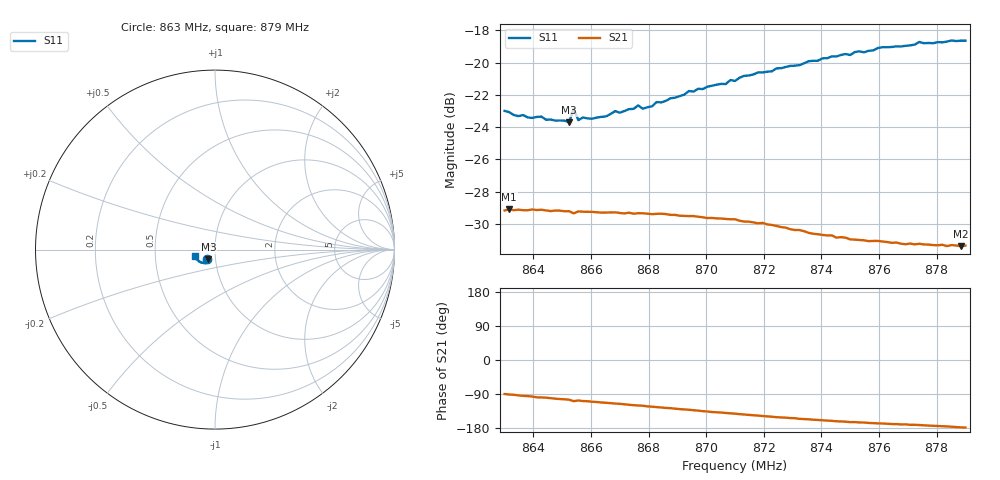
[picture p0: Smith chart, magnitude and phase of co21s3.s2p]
# HZ S RI R 50
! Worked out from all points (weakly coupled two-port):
!   101 points, 863 MHz to 879 MHz, reference 50 ohm
!   highest |S21| = -29.11 dB at 863.16 MHz (marker M1); lowest = -31.4 dB at 878.84 MHz (marker M2)
!   lowest |S11| = -23.7 dB at 865.24 MHz (marker M3), VSWR 1.14, Z = 46.2 - j5.05 ohm
!   |S11| at or under -10 dB: start of sweep to end of sweep
!   S12 and S22 are empty: the file has one direction only
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8.63e8  -0.045 -0.0548  0.000168 -0.0348  0 0  0 0
8.6316e8  -0.0456 -0.0534  -0.000674 -0.035  0 0  0 0
8.6348e8  -0.0425 -0.0534  -0.00211 -0.0349  0 0  0 0
8.6428e8  -0.0401 -0.0549  -0.00534 -0.0345  0 0  0 0
8.6524e8  -0.0363 -0.0544  -0.00886 -0.0334  0 0  0 0
8.654e8  -0.0442 -0.0568  -0.0109 -0.0323  0 0  0 0
8.6556e8  -0.0357 -0.0559  -0.00999 -0.0331  0 0  0 0
8.6572e8  -0.0352 -0.0577  -0.0108 -0.0327  0 0  0 0
8.6652e8  -0.0339 -0.0591  -0.0133 -0.0316  0 0  0 0
8.6684e8  -0.0361 -0.0609  -0.0145 -0.0311  0 0  0 0
8.67e8  -0.0345 -0.0609  -0.0148 -0.0308  0 0  0 0
8.6764e8  -0.0358 -0.0644  -0.0171 -0.0295  0 0  0 0
8.678e8  -0.0347 -0.063  -0.0174 -0.0293  0 0  0 0
8.6844e8  -0.0362 -0.066  -0.0196 -0.0278  0 0  0 0
8.694e8  -0.0407 -0.0709  -0.0221 -0.0251  0 0  0 0
8.71e8  -0.0482 -0.0734  -0.0256 -0.0203  0 0  0 0
8.7132e8  -0.051 -0.0754  -0.0259 -0.019  0 0  0 0
8.7372e8  -0.0691 -0.0742  -0.0272 -0.0113  0 0  0 0
8.7644e8  -0.0936 -0.0613  -0.0271 -0.00527  0 0  0 0
8.774e8  -0.1021 -0.055  -0.0271 -0.00401  0 0  0 0
8.7884e8  -0.1098 -0.0405  -0.0269 -0.00101  0 0  0 0
8.79e8  -0.1107 -0.0381  -0.027 -0.000789  0 0  0 0
